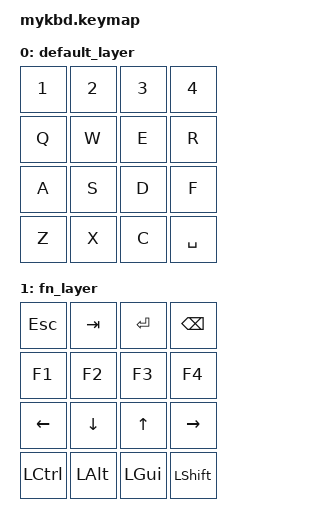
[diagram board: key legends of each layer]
#include <behaviors.dtsi>
#include <dt-bindings/zmk/keys.h>

 / {
     keymap {
         compatible = "zmk,keymap";

         default_layer {
             bindings = <
                 &kp N1    &kp N2    &kp N3    &kp N4
                 &kp Q     &kp W     &kp E     &kp R
                 &kp A     &kp S     &kp D     &kp F
                 &kp Z     &kp X     &kp C     &kp SPACE
             >;
         };

         fn_layer {
             bindings = <
                 &kp ESC   &kp TAB   &kp ENTER &kp BSPC
                 &kp F1    &kp F2    &kp F3    &kp F4
                 &kp LEFT  &kp DOWN  &kp UP    &kp RIGHT
                 &kp LCTRL &kp LALT  &kp LGUI  &kp LSHFT
             >;
         };
     };
 };
